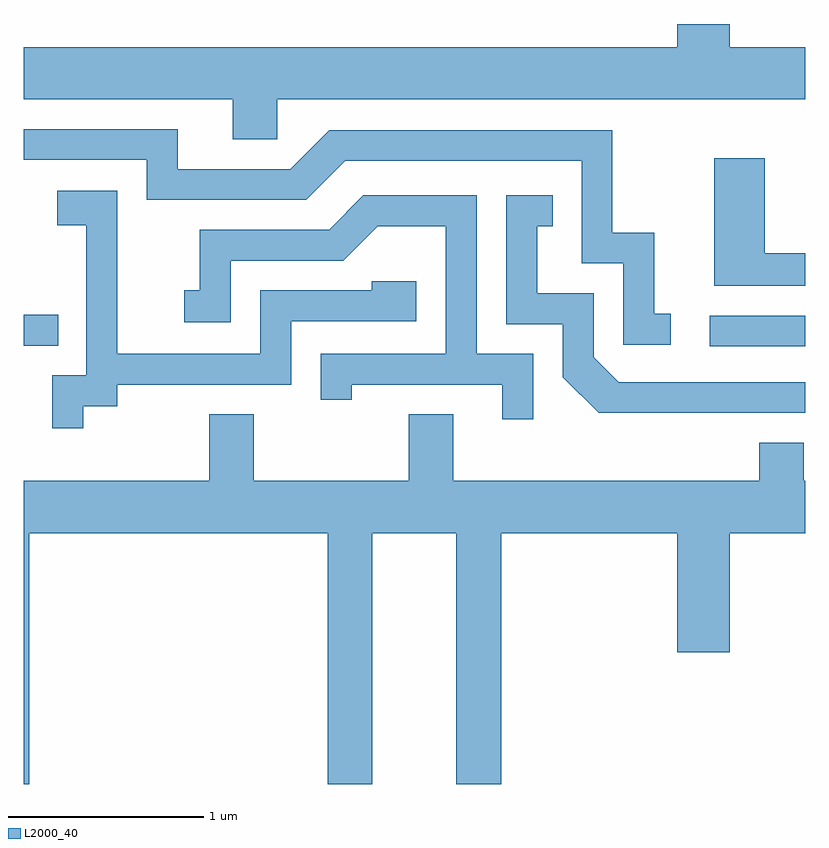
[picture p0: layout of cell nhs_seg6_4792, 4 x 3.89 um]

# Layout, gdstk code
import gdstk
lib = gdstk.Library(unit=1e-6, precision=1e-09)
def R(c, l, rs):  # rectangles x0, y0, x1, y1
    for r in rs: c.add(gdstk.rectangle(r[:2], r[2:], *l))
def P(c, l, *ps):  # polygons
    for p in ps: c.add(gdstk.Polygon(p, *l))
L2000_40 = (2000, 40)

nhs_seg6_4792 = lib.new_cell('nhs_seg6_4792')
R(nhs_seg6_4792, L2000_40, [(335.123,1586.511,335.611,1586.669), (331.611,1586.516,331.788,1586.674)])
P(nhs_seg6_4792, L2000_40, [(332.909,1587.776),(335.611,1587.776),(335.611,1588.044),(335.224,1588.044),(335.224,1588.162),(334.956,1588.162),(334.956,1588.044),(331.611,1588.044),(331.611,1587.776),(332.681,1587.776),(332.681,1587.571),(332.909,1587.571)],
  [(334.923,1586.679),(334.839,1586.679),(334.839,1587.094),(334.624,1587.094),(334.624,1587.619),(333.174,1587.619),(332.974,1587.419),(332.399,1587.419),(332.399,1587.624),(331.611,1587.624),(331.611,1587.466),(332.241,1587.466),(332.241,1587.261),(333.057,1587.261),(333.257,1587.461),(334.466,1587.461),(334.466,1586.936),(334.681,1586.936),(334.681,1586.521),(334.923,1586.521)],
  [(335.611,1586.989),(335.404,1586.989),(335.404,1587.474),(335.146,1587.474),(335.146,1586.821),(335.611,1586.821)],
  [(331.914,1586.206),(332.089,1586.206),(332.089,1586.316),(332.979,1586.316),(332.979,1586.641),(333.619,1586.641),(333.619,1586.844),(333.391,1586.844),(333.391,1586.799),(332.821,1586.799),(332.821,1586.474),(332.089,1586.474),(332.089,1587.309),(331.781,1587.309),(331.781,1587.131),(331.931,1587.131),(331.931,1586.364),(331.756,1586.364),(331.756,1586.093),(331.914,1586.093)],
  [(335.611,1586.329),(334.657,1586.329),(334.529,1586.457),(334.529,1586.784),(334.239,1586.784),(334.239,1587.126),(334.318,1587.126),(334.318,1587.284),(334.081,1587.284),(334.081,1586.626),(334.371,1586.626),(334.371,1586.354),(334.554,1586.171),(335.611,1586.171)],
  [(334.219,1586.474),(333.929,1586.474),(333.929,1587.284),(333.349,1587.284),(333.174,1587.109),(332.511,1587.109),(332.511,1586.799),(332.433,1586.799),(332.433,1586.636),(332.669,1586.636),(332.669,1586.951),(333.247,1586.951),(333.422,1587.126),(333.771,1587.126),(333.771,1586.474),(333.131,1586.474),(333.131,1586.238),(333.289,1586.238),(333.289,1586.316),(334.061,1586.316),(334.061,1586.138),(334.219,1586.138)],
  [(333.809,1586.164),(333.581,1586.164),(333.581,1585.824),(332.789,1585.824),(332.789,1586.164),(332.561,1586.164),(332.561,1585.824),(331.611,1585.824),(331.611,1584.271),(331.639,1584.271),(331.639,1585.556),(333.166,1585.556),(333.166,1584.271),(333.394,1584.271),(333.394,1585.556),(333.826,1585.556),(333.826,1584.271),(334.054,1584.271),(334.054,1585.556),(334.956,1585.556),(334.956,1584.946),(335.224,1584.946),(335.224,1585.556),(335.611,1585.556),(335.611,1585.824),(335.604,1585.824),(335.604,1586.019),(335.376,1586.019),(335.376,1585.824),(333.809,1585.824)])

lib.write_gds('nhs_seg6_4792.gds')
